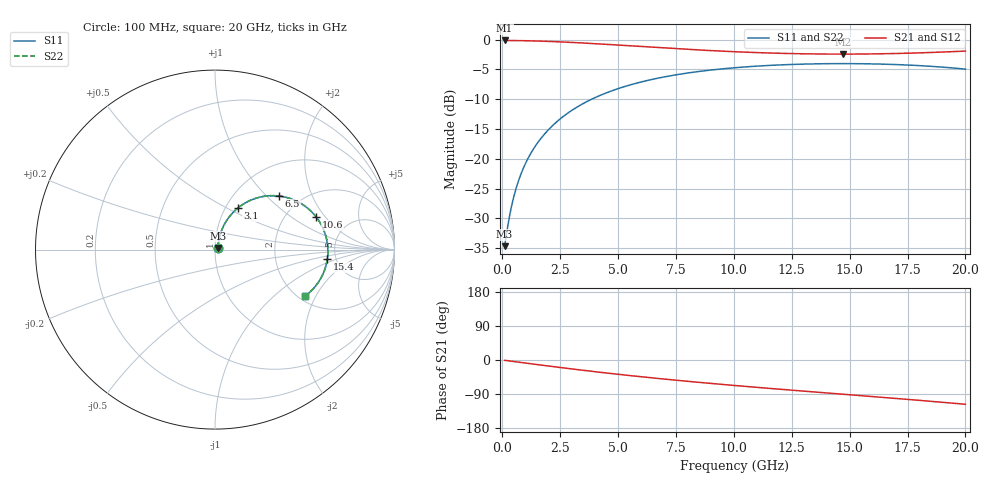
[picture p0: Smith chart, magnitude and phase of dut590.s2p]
! Touchstone file exported from HFSS 2026.1.0
!  File:  C:/ffzhzh/LocalFiles/Ansys_Project_Files/temp_train_TSV_RDL_590_1783120196_53076.aedt
!  Generated:  07:25:14 AM Jul  4, 2026
!  Design:  TSV_RDL
!  Project:  temp_train_TSV_RDL_590_1783120196_53076
! Variables:
!  h_bsmrdl = 4.37um
!  h_ox = 20um
!  h_rdl = 5um
!  h_sub = 71.54um
!  h_tmrdl = 5.17um
!  h_tsv = 71.54um
!  h_via = 3um
!  l_bsmrdl = 212.01um
!  l_sub = 2051.35um
!  l_tmrdl = 223.05um
!  m_sub = 200um
!  pitch = 55.64um
!  r_tsv = 2.34um
!  s_tmrdl = 10um
!  w_bsmrdl = 16.48um
!  w_sub = 500um
!  w_tmrdl = 24.56um
!  x_tsv_center1 = 235.33um
!  x_tsv_center2 = 463.82um
!  x_tsv_center3 = 711.43um
!  x_tsv_center4 = 939.92um
!  x_tsv_center5 = 1187.53um
!  x_tsv_center6 = 1416.02um
# GHz S MA R 50.000000
! Terminal data exported
! Port[1] = TM_RDL1_1_T1
! Port[2] = TM_RDL5_1_T1
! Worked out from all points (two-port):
!   200 points, 100 MHz to 20 GHz, reference 50 ohm
!   highest |S21| = -0.14 dB at 100 MHz (marker M1); lowest = -2.4 dB at 14.7 GHz (marker M2)
!   |S21| within 3 dB of the highest: start of sweep to end of sweep
!   lowest |S11| = -34.7 dB at 100 MHz (marker M3), VSWR 1.04, Z = 51.6 + j0.943 ohm
!   |S11| at or under -10 dB: start of sweep to 3.861 GHz
!   |S22| runs from -34.7 to -4.0 dB; largest |S21 - S12| = 9.6e-14
!   S11 on the Smith chart (normalised r, x): 100 MHz: 1.03, +0.02; 3.1 GHz: 1.14, +0.56; 6.5 GHz: 1.56, +1.19; 10.6 GHz: 2.91, +1.63; 15.4 GHz: 4.24, -0.74; 20 GHz: 2.17, -1.64
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0.1  0.01849 29.6  0.984 -0.8  0.984 -0.8  0.01849 29.6
! Gamma 0 0 0 0
! Port Impedance 50 0 50 0
0.3  0.03208 56.7  0.9832 -2.5  0.9832 -2.5  0.03208 56.7
0.5  0.04837 65.6  0.9822 -4.1  0.9822 -4.1  0.04837 65.6
0.8  0.07395 70.2  0.9804 -6.5  0.9804 -6.5  0.07395 70.2
1.1  0.09982 71.1  0.9779 -8.9  0.9779 -8.9  0.09982 71.1
1.5  0.1341 70.4  0.9734 -12.0  0.9734 -12.0  0.1341 70.4
1.9  0.1677 68.6  0.9678 -15.2  0.9678 -15.2  0.1677 68.6
2.5  0.2162 65.2  0.9576 -19.8  0.9576 -19.8  0.2162 65.2
3.1  0.2622 61.4  0.9455 -24.3  0.9455 -24.3  0.2622 61.4
3.5  0.2912 58.8  0.9366 -27.2  0.9366 -27.2  0.2912 58.8
4.9  0.382 49.7  0.9027 -37.0  0.9027 -37.0  0.382 49.7
6.5  0.465 39.9  0.8629 -47.3  0.8629 -47.3  0.465 39.9
6.8  0.4783 38.2  0.8557 -49.2  0.8557 -49.2  0.4783 38.2
8.3  0.5345 29.8  0.8225 -57.9  0.8225 -57.9  0.5345 29.8
10.1  0.5824 20.4  0.7905 -67.6  0.7905 -67.6  0.5824 20.4
10.6  0.5924 17.9  0.7833 -70.2  0.7833 -70.2  0.5924 17.9
13.4  0.6256 4.5  0.7585 -84.0  0.7585 -84.0  0.6256 4.5
14.7  0.6292 -1.6  0.7558 -90.3  0.7558 -90.3  0.6292 -1.6
15.4  0.6281 -4.8  0.7566 -93.6  0.7566 -93.6  0.6281 -4.8
16.7  0.6206 -10.9  0.7625 -99.9  0.7625 -99.9  0.6206 -10.9
18.3  0.6007 -18.6  0.7773 -107.9  0.7773 -107.9  0.6007 -18.6
20  0.5653 -27.1  0.8015 -116.9  0.8015 -116.9  0.5653 -27.1
